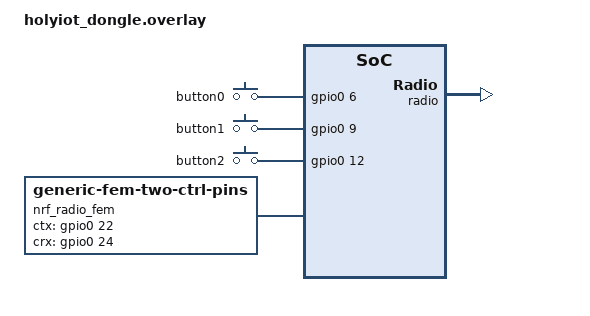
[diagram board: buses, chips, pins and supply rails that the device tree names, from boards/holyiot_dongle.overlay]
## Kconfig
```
# Copyright (c) 2023 Nordic Semiconductor ASA
# SPDX-License-Identifier: Apache-2.0

source "Kconfig.zephyr"

mainmenu "Bluetooth: TTL ISO Sender"

config TTL_GPIO_POLLING_INTERVAL_MS
	int "Interval in milliseconds between each GPIO polling"
	range 1 1000
	default 100
	help
	  Only poll the GPIO once in a given interval of ISO packets.

config TTL_STATE_PRINT_INTERVAL
	int "Interval between each packet report in ISO packets"
	range 1 1000
	default 100
	help
	  Only print the ttl state report after each N packet.
```

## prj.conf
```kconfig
# enable logging
CONFIG_LOG=y

# enable BLE with extended periodic advertisement
CONFIG_BT=y
# define BLE name for scan request
CONFIG_BT_DEVICE_NAME="TTF Periodic Advertiser"
CONFIG_BT_ISO_BROADCASTER=y
CONFIG_BT_ISO_MAX_CHAN=1
CONFIG_BT_ISO_TX_BUF_COUNT=4

# Just needs to send a uint32_t value
CONFIG_BT_ISO_TX_MTU=4

# increase BLE range by setting TX power to +8dBm
CONFIG_BT_CTLR_TX_PWR_PLUS_8=y
CONFIG_BT_CTLR_ISOAL_SN_STRICT=n

# configure GPIO polling interval
CONFIG_TTL_GPIO_POLLING_INTERVAL_MS=1000
```

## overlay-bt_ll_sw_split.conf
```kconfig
CONFIG_BT_CTLR_ADV_ISO=y
CONFIG_BT_CTLR_ADV_ISO_PDU_LEN_MAX=4
CONFIG_BT_CTLR_ADV_ISO_STREAM_MAX=2

CONFIG_BT_CTLR_ISOAL_SOURCES=2

# FIXME: Host needs CONFIG_BT_ISO_TX_MTU + 4 bytes for sequence number, and
# optionally additional + 4 bytes for timestamp when not using
# BT_ISO_TIMESTAMP_NONE in bt_iso_chan_send(), otherwise Host tries to fragment
# ISO data.
# When Host is fixed, CONFIG_BT_CTLR_ISO_TX_BUFFER_SIZE can inherit the
# CONFIG_BT_ISO_TX_MTU value.
CONFIG_BT_CTLR_ISO_TX_BUFFER_SIZE=12
```

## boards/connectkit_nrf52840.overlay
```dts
/*
 * Copyright (c) 2016-2023 Makerdiary
 *
 * SPDX-License-Identifier: Apache-2.0
 */

/ {
    chosen {
        zephyr,console = &cdc_acm_uart0;
    };
};

&zephyr_udc0 {
    cdc_acm_uart0: cdc_acm_uart0 {
        compatible = "zephyr,cdc-acm-uart";
    };
};

/ {
    aliases {
    ttl-break = &button0;
    ttl-tleft = &button1;
    ttl-tright = &button2;
	};
};

/* Define buttons -> light sniffing gpios */
/ {
  /delete-node/ buttons;

  buttons {
		compatible = "gpio-keys";
		button0: button_0 {
			gpios = < &gpio0 22 (GPIO_ACTIVE_HIGH | GPIO_PULL_DOWN)>;
		};
  
    button1: button1 {
      gpios = < &gpio0 24 (GPIO_ACTIVE_HIGH | GPIO_PULL_DOWN)>;
    };

    button2: button2 {
      gpios = < &gpio1 0 (GPIO_ACTIVE_HIGH | GPIO_PULL_DOWN)>;
    };

	};
};
```

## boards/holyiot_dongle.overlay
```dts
/ {
  aliases {
    /delete-property/ sw0;
    /delete-property/ sw1;
    /delete-property/ sw2;
    /delete-property/ sw3;
    /delete-property/ mcuboot-button0;

    ttl-break = &button0;
    ttl-tleft = &button1;
    ttl-tright = &button2;
  };
};

/* Define buttons -> light sniffing gpios */
/ {
  /delete-node/ buttons;

  buttons {
    compatible = "gpio-keys";
    button0: button_0 {
      gpios = <&gpio0 6 (GPIO_ACTIVE_HIGH | GPIO_PULL_DOWN)>;
    };

    button1: button1 {
      gpios = <&gpio0 9 (GPIO_ACTIVE_HIGH | GPIO_PULL_DOWN)>;
    };

    button2: button2 {
      gpios = <&gpio0 12 (GPIO_ACTIVE_HIGH | GPIO_PULL_DOWN)>;
    };

  };
};


/**
 * Configure FEM for nrf52840 radio as stated in dts/bindings/net/wireless/nordic,nrf-radio.yaml
 * Checkout schematic from: http: //www.holyiot.com/tp/2021091017064271075.pdf
 *
 * They have not incooperated an official nrf21540 FEM, so let's use as `generic-fem-two-ctrl-pins`
 */
/ {
  nrf_radio_fem: holyiot_dongle_fem {
    compatible = "generic-fem-two-ctrl-pins";
    ctx-gpios = <&gpio0 22 GPIO_ACTIVE_HIGH>; // from datasheet
    ctx-settle-time-us = <10>; // some empiric value
    crx-gpios = <&gpio0 24 GPIO_ACTIVE_HIGH>; // some empiric value
    crx-settle-time-us = <10>; // some empiric value
    rx-gain-db = <12>;
    tx-gain-db = <25>;
  };
};

&radio {
  fem = <&nrf_radio_fem>;
};
```

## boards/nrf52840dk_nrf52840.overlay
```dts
/ {
    aliases {
		/delete-property/ sw0;
		/delete-property/ sw1;
		/delete-property/ sw2;
		/delete-property/ sw3;

    ttl-reverse = &button0;
    ttl-break = &button1;
    ttl-tleft = &button2;
    ttl-tright = &button3;
	};
};

/*
 * Only active this change only if you would like to test with the GPIO pins instead of the buttons on the DK.
 */
/*
&button0 {
  gpios = < &gpio1 10 (GPIO_ACTIVE_HIGH | GPIO_PULL_DOWN)>;
  /delete-property/ zephyr,code;
};

&button1 {
  gpios = < &gpio1 13 (GPIO_ACTIVE_HIGH | GPIO_PULL_DOWN)>;
  /delete-property/ zephyr,code;
};

&button2 {
  gpios = < &gpio1 15 (GPIO_ACTIVE_HIGH | GPIO_PULL_DOWN)>;
  /delete-property/ zephyr,code;
};

&button3 {
  gpios = < &gpio0 2 (GPIO_ACTIVE_HIGH | GPIO_PULL_DOWN)>;
  /delete-property/ zephyr,code;
};
*/
```

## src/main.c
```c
#include <zephyr/kernel.h>
#include <zephyr/logging/log.h>

#include "ble.h"
#include "gpio.h"
#include "ttl.h"

LOG_MODULE_REGISTER(ttl_main, LOG_LEVEL_INF);

int main(void) {
  int err = 0;
  LOG_INF("Starting TTLight Controller\n");

  err = ttl_ble_init();
  if (TTL_OK != err) {
    LOG_ERR("Failed to initialize the TTLight BLE stack\n");
    return TTL_ERR;
  }

  err = ttl_gpio_init();
  if (TTL_OK != err) {
    LOG_ERR("Failed to initialize the TTLight GPIO stack\n");
    return TTL_ERR;
  }
  ttl_gpio_register_cb(ttl_ble_upd_status);

  err = ttl_gpio_run();
  if (TTL_OK != err) {
    LOG_ERR("Failed to start continuously TTLState sampling");
    return TTL_ERR;
  }

  err = ttl_ble_run();
  if (TTL_OK != err) {
    LOG_ERR("Failed to start continuously sending current TTL state via BLE\n");
    return TTL_ERR;
  }

  return TTL_OK;
}
```

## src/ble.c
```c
#include <zephyr/bluetooth/bluetooth.h>
#include <zephyr/bluetooth/iso.h>
#include <zephyr/logging/log.h>
#include <zephyr/sys/byteorder.h>

#include "ttl.h"

LOG_MODULE_REGISTER(ttl_ble, LOG_LEVEL_DBG);

#define BUF_ALLOC_TIMEOUT_MS (10)
#define BIG_TERMINATE_TIMEOUT_US (60 * USEC_PER_SEC)
#define BIG_SDU_INTERVAL_US (10000)

NET_BUF_POOL_FIXED_DEFINE(bis_tx_pool, 1,
                          BT_ISO_SDU_BUF_SIZE(CONFIG_BT_ISO_TX_MTU),
                          CONFIG_BT_CONN_TX_USER_DATA_SIZE, NULL);

static K_SEM_DEFINE(sem_big_cmplt, 0, 1);
static K_SEM_DEFINE(sem_big_term, 0, 1);
static K_SEM_DEFINE(sem_iso_data, CONFIG_BT_ISO_TX_BUF_COUNT,
                    CONFIG_BT_ISO_TX_BUF_COUNT);

static uint16_t seq_num;
static ttl_state_t ttl_state;
static K_SEM_DEFINE(sem_ttl_state, 1, 1);
static uint8_t iso_data[sizeof(ttl_state)] = {0};

// ttl ble thread objects
#define TTL_BLE_STACK_SIZE (2048)
static K_KERNEL_STACK_DEFINE(ttl_ble_thread_stack, TTL_BLE_STACK_SIZE);
static struct k_thread ttl_ble_thread_data;

static void iso_connected(struct bt_iso_chan *chan) {
  LOG_INF("ISO Channel %p connected", chan);
  seq_num = 0U;
  k_sem_give(&sem_big_cmplt);
}

static void iso_disconnected(struct bt_iso_chan *chan, uint8_t reason) {
  LOG_INF("ISO Channel %p disconnected with reason 0x%02x", chan, reason);
  k_sem_give(&sem_big_term);
}

static void iso_sent(struct bt_iso_chan *chan) { k_sem_give(&sem_iso_data); }

static struct bt_iso_chan_ops iso_ops = {
    .connected = iso_connected,
    .disconnected = iso_disconnected,
    .sent = iso_sent,
};

static struct bt_iso_chan_io_qos iso_tx_qos = {
    .sdu = sizeof(uint32_t), /* bytes */
    .rtn = 2,
    .phy = BT_GAP_LE_PHY_1M,
};

static struct bt_iso_chan_qos bis_iso_qos = {
    .tx = &iso_tx_qos,
};

static struct bt_iso_chan bis_iso_chan = {
    .ops = &iso_ops,
    .qos = &bis_iso_qos,
};

static struct bt_iso_chan *bis[] = {&bis_iso_chan};

static struct bt_iso_big_create_param big_create_param = {
    .num_bis = 1,
    .bis_channels = bis,
    .interval = BIG_SDU_INTERVAL_US, /* in microseconds */
    .latency = 10,                   /* in milliseconds */
    .packing = 0,                    /* 0 - sequential, 1 - interleaved */
    .framing = 0,                    /* 0 - unframed, 1 - framed */
};

static int ttl_ble_enable() {
  struct bt_le_ext_adv *adv;
  struct bt_iso_big *big;
  int err;

  LOG_INF("Starting to initiate BLE stack for TTLight");

  /* Initialize the Bluetooth Subsystem */
  err = bt_enable(NULL);
  if (err) {
    LOG_ERR("Bluetooth init failed (err %d)", err);
    return TTL_ERR;
  }
  // err = bt_le_ext_adv_create(BT_LE_EXT_ADV_CODED_NCONN_NAME, NULL, &adv);
  /* Create a non-connectable non-scannable advertising set */
  err = bt_le_ext_adv_create(BT_LE_EXT_ADV_NCONN_NAME, NULL, &adv);
  if (err) {
    LOG_ERR("Failed to create advertising set (err %d)", err);
    return TTL_ERR;
  }

  /* Set periodic advertising parameters */
  err = bt_le_per_adv_set_param(adv, BT_LE_PER_ADV_DEFAULT);
  if (err) {
    LOG_ERR("Failed to set periodic advertising parameters (err %d)", err);
    return TTL_ERR;
  }

  /* Enable Periodic Advertising */
  err = bt_le_per_adv_start(adv);
  if (err) {
    LOG_ERR("Failed to enable periodic advertising (err %d)", err);
    return TTL_ERR;
  }

  /* Start extended advertising */
  err = bt_le_ext_adv_start(adv, BT_LE_EXT_ADV_START_DEFAULT);
  if (err) {
    LOG_ERR("Failed to start extended advertising (err %d)", err);
    return TTL_ERR;
  }

  /* Create BIG */
  err = bt_iso_big_create(adv, &big_create_param, &big);
  if (err) {
    LOG_ERR("Failed to create BIG (err %d)", err);
    return TTL_ERR;
  }

  LOG_INF("Waiting for BIG complete chan...");
  err = k_sem_take(&sem_big_cmplt, K_FOREVER);
  if (err) {
    LOG_ERR("failed (err %d)", err);
    return TTL_ERR;
  }
  LOG_INF("BIG create complete chan.\n");

  return TTL_OK;
}

static int ttl_ble_broadcast() {
  while (true) {
    struct net_buf *buf;
    int ret;

    buf = net_buf_alloc(&bis_tx_pool, K_MSEC(BUF_ALLOC_TIMEOUT_MS));
    if (!buf) {
      printk("Data buffer allocate timeout on channel");
      return 0;
    }

    ret = k_sem_take(&sem_iso_data, K_FOREVER);
    if (ret) {
      printk("k_sem_take for ISO data sent failed\n");
      net_buf_unref(buf);
      return 0;
    }

    net_buf_reserve(buf, BT_ISO_CHAN_SEND_RESERVE);
    // NOTE: we do not check the error code, because it anyway waits FOREVER
    k_sem_take(&sem_ttl_state, K_FOREVER);
    sys_put_le32(ttl_state.entire, iso_data);
    k_sem_give(&sem_ttl_state);
    net_buf_add_mem(buf, iso_data, sizeof(iso_data));

    ret = bt_iso_chan_send(&bis_iso_chan, buf, seq_num);
    if (ret < 0) {
      printk("Unable to broadcast data on channel with error code: %d", ret);
      net_buf_unref(buf);
      return 0;
    }

    if ((seq_num % CONFIG_TTL_STATE_PRINT_INTERVAL) == 0) {
      PRINT_TTL_STATE(ttl_state);
    }
    seq_num++;
  }

  return TTL_OK;
}

/**
 * @brief Main TTL BLE thread loop
 */
static void ttl_ble_thread_main() {
  int ret = 0;
  LOG_INF("TTLight starts to initiate the BLE Stack");
  ret = ttl_ble_enable();
  if (TTL_OK != ret) {
    LOG_ERR("Failed to initiate the TTLight BLE stack");
    return;
  }
  LOG_INF("TTLight started the BLE Stack successfully");

  LOG_INF("TTLight starts to broadcast current state");
  ret = ttl_ble_broadcast();
  if (TTL_OK != ret) {
    LOG_ERR("Failed to broadcast the current TTLight BLE state");
    return;
  }
  LOG_INF("TTLight finished to broadcast current state");

  return;
}

ttl_err_t ttl_ble_init(void) {
  // nothing special to do, just to keep interface straight
  return TTL_OK;
}

ttl_err_t ttl_ble_run(void) {
  /* Start a thread to offload disk ops */
  k_thread_create(&ttl_ble_thread_data, ttl_ble_thread_stack,
                  TTL_BLE_STACK_SIZE, (k_thread_entry_t)ttl_ble_thread_main,
                  NULL, NULL, NULL, -5, 0, K_NO_WAIT);
  k_thread_name_set(&ttl_ble_thread_data, "ttl_ble_worker");

  return TTL_OK;
}

ttl_err_t ttl_ble_upd_status(ttl_state_t state) {
  if (state.entire != ttl_state.entire) {
    LOG_INF("Updated TTLight state to:");
    PRINT_TTL_STATE(state);

    k_sem_take(&sem_ttl_state, K_FOREVER);
    ttl_state = state;
    k_sem_give(&sem_ttl_state);
  }

  return TTL_OK;
}
```

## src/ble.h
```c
#ifndef BLE_H
#define BLE_H

#include "ttl.h"

/**
 * @brief Initiate TTL BLE module.
 *
 * @return #ttl_err_t
 */
ttl_err_t ttl_ble_init(void);

/**
 * @brief Run the TTLight BLE logic.
 * This includes spawning a new thread, enabling BLE, creating an ISO channel
 * and sending the current ttl state. The ttl state can be updated via function
 * #ttl_ble_upd_status.
 *
 * @return #ttl_err_t
 */
ttl_err_t ttl_ble_run(void);

/**
 * @brief Small helper function to update the current
 * ttl state variable. After the call, the BLE stack
 * will broadcast the updated status value
 *
 * @param[in] state - ttl state to update
 * @return #ttl_err_t
 */
ttl_err_t ttl_ble_upd_status(ttl_state_t state);

#endif
```

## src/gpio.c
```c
#include <zephyr/drivers/gpio.h>
#include <zephyr/kernel.h>
#include <zephyr/logging/log.h>

#include "gpio.h"

LOG_MODULE_REGISTER(ttl_gpio, LOG_LEVEL_INF);

// ttl GPIO thread objects
#define TTL_GPIO_STACK_SIZE (2048)
static K_KERNEL_STACK_DEFINE(ttl_gpio_thread_stack, TTL_GPIO_STACK_SIZE);
static struct k_thread ttl_gpio_thread_data;

// ttl GPIO hardware mapping
enum GPIO_MAPPING { BREAK = 0, TURN_LEFT, TURN_RIGHT };
static const struct gpio_dt_spec gpios[] = {
    GPIO_DT_SPEC_GET_OR(DT_ALIAS(ttl_break), gpios, {0}),
    GPIO_DT_SPEC_GET_OR(DT_ALIAS(ttl_tleft), gpios, {0}),
    GPIO_DT_SPEC_GET_OR(DT_ALIAS(ttl_tright), gpios, {0})};

// ttl gpio runtime variables
#define TTL_GPIO_VALUES_LEN 3
static uint8_t values[TTL_GPIO_VALUES_LEN];
static ttl_state_t ttl_state;
static ttl_upd_state_cb_t ttl_gpio_upd_state_cb;

/**
 * @brief Map GPIO input value to ttl state
 */
static void ttl_gpio_map_state(void) {
  ttl_state.entire = 0;
  ttl_state.parts.magic = 0x27;
  ttl_state.parts.reserved = 0x11;

  ttl_state.parts.bits.breaks = values[BREAK] & 0x01;
  ttl_state.parts.bits.lturn = values[TURN_LEFT] & 0x01;
  ttl_state.parts.bits.rturn = values[TURN_RIGHT] & 0x01;
  ttl_state.parts.bits.ldrive = 1;
  ttl_state.parts.bits.rdrive = 1;
  // TODO: not supported yet
  ttl_state.parts.bits.reverse = 0;
  ttl_state.parts.bits.fog = 0;
}

/**
 * @brief Configure GPIO pins as specified in devicetree file
 */
static int ttl_gpio_configure(void) {
  int ret = 0;

  memset(values, 0, ARRAY_SIZE(values));
  if (!device_is_ready(gpios[BREAK].port)) {
    LOG_ERR("GPIO port %s is not ready", gpios[BREAK].port->name);
    return TTL_ERR;
  }

  LOG_INF("GPIO port is ready, configure all the pins properly.");
  for (uint8_t i = 0; i < ARRAY_SIZE(gpios); i++) {
    ret = gpio_pin_configure_dt(&gpios[i], GPIO_INPUT);
    if (ret) {
      LOG_ERR("Failed to configure gpio pin: %d\n", gpios[i].pin);
      return TTL_ERR;
    }
  }

  return TTL_OK;
}

/**
 * @brief Run GPIO update function is set
 */
static int ttl_gpio_upd_state() {
  if (ttl_gpio_upd_state_cb) {
    return (*ttl_gpio_upd_state_cb)(ttl_state);
  }
  return TTL_OK;
}

/**
 * @brief Poll current TTL state from GPIO pins
 */
static void ttl_gpio_poll_port(void) {
  for (uint8_t i = 0; i < ARRAY_SIZE(gpios); i++) {
    values[i] = gpio_pin_get_dt(&gpios[i]);
  }
}

/**
 * @brief Main GPIO thread loop
 */
static void ttl_gpio_loop(void) {
  int ret;

  while (true) {
    ttl_gpio_poll_port();
    LOG_DBG("Polled current ttl gpio values:[%d,%d,%d]", values[0], values[1],
            values[2]);

    ttl_gpio_map_state();

    ret = ttl_gpio_upd_state();
    if (TTL_OK != ret) {
      LOG_ERR("Failed to update current polled state");
      continue;
    }

    k_msleep(CONFIG_TTL_GPIO_POLLING_INTERVAL_MS);
  }
}

void ttl_gpio_register_cb(ttl_upd_state_cb_t cb) {
  if (cb) {
    ttl_gpio_upd_state_cb = cb;
  }
}

ttl_err_t ttl_gpio_init() {
  int ret = 0;

  LOG_INF("TTLight starts to initiate the GPIO Stack");
  ret = ttl_gpio_configure();
  if (TTL_OK != ret) {
    LOG_ERR("Failed to initiate the TTLight GPIO stack");
    return TTL_ERR;
  }

  ttl_gpio_upd_state_cb = NULL;
  ttl_state.entire = 0;

  LOG_INF("TTLight started the GPIO Stack successfully");

  return TTL_OK;
}

ttl_err_t ttl_gpio_run() {
  /* Start a thread to sample TTLight GPIO state independently from the main
   * thread*/
  k_thread_create(&ttl_gpio_thread_data, ttl_gpio_thread_stack,
                  TTL_GPIO_STACK_SIZE, (k_thread_entry_t)ttl_gpio_loop, NULL,
                  NULL, NULL, 1, 0, K_NO_WAIT);
  k_thread_name_set(&ttl_gpio_thread_data, "ttl_ble_worker");

  return TTL_OK;
}

ttl_err_t ttl_gpio_terminate() {
  k_thread_abort(&ttl_gpio_thread_data);
  return TTL_OK;
}
```

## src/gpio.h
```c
#ifndef GPIO_H
#define GPIO_H

#include "ttl.h"

/**
 * @brief Enable the TTLight GPIO stack. This function initiates the GPIO port
 * and brings up a dedicated thread to sample the GPIO state. Please use
 * @ttl_gpio_start and @ttl_gpio_stop to enable and disable sampling.
 * @return TTL_OK on success, else TTL_ERR
 */
int ttl_gpio_init();

/**
 * @brief Start sampling the current TTLight GPIO state in dedicated thread.
 * @return TTL_OK on success, else TTL_ERR
 */
int ttl_gpio_start();

/**
 * @brief Stop sampling the current TTLight GPIO state in dedicated thread. This
 * function does not destroy the thread.
 * @return TTL_OK on success, else TTL_ERR
 */
int ttl_gpio_stop();

/**
 * @brief Register callback function which should be get triggered once the
 * internal ttl state changes.
 * @param[in] cb - callback to execute on ttl state changes
 */
void ttl_gpio_register_cb(ttl_upd_state_cb_t cb);

#endif
```

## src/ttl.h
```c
#ifndef TTL_H
#define TTL_H

#include "inttypes.h"

#define TTL_OK (0)
#define TTL_ERR (-1)

#define TTL_POLLING_INTERVAL_MS (100)

/**
 * @brief TTL light states
 */
typedef union {
  uint32_t entire;
  struct __attribute__((__packed__)) {
    uint8_t magic;
    uint8_t reserved;
    struct __attribute__((__packed__)) {
      uint16_t reverse : 1; // ???
      uint16_t breaks : 1;  // rot/54
      uint16_t lturn : 1;   // yellow/L
      uint16_t rturn : 1;   // green/R
      uint16_t ldrive : 1;  // black/58L
      uint16_t rdrive : 1;  // gray/58R
      uint16_t fog : 1;     // blue/54G
      uint16_t reserved : 9;
    } bits;
  } parts;
} ttl_state_t;

typedef int (*ttl_upd_state_cb_t)(ttl_state_t);

#define PRINT_TTL_STATE(state)                                                 \
  LOG_INF("TTLight State: {magic: 0x%x, breaks: %d, lturn: %d, rturn: %d, "    \
          "reverse: %d, ldrive: %d, rdrive: %d}",                              \
          state.parts.magic, state.parts.bits.breaks, state.parts.bits.lturn,  \
          state.parts.bits.rturn, state.parts.bits.reverse,                    \
          state.parts.bits.ldrive, state.parts.bits.rdrive);
#endif
```
